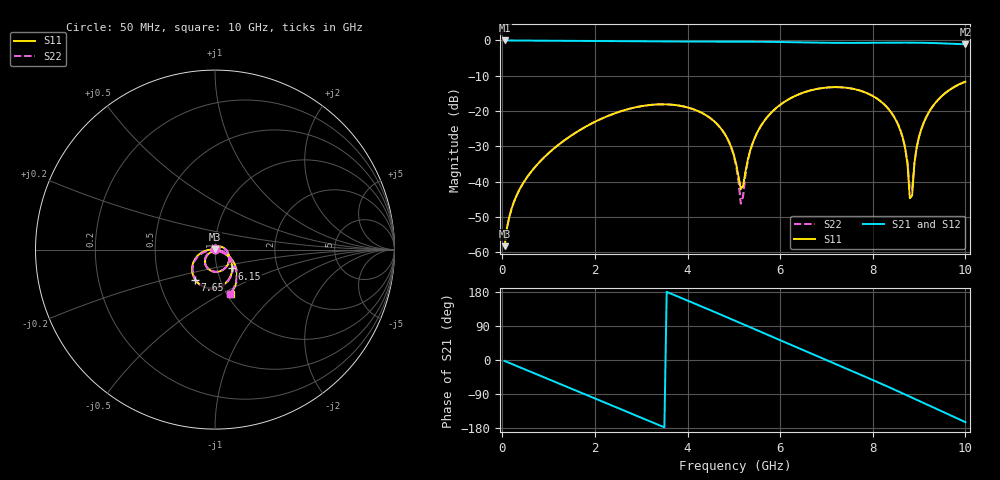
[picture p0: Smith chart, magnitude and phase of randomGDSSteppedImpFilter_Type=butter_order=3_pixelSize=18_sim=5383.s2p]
! freq	dB(S11)	phase(S11)	dB(S12)	phase(S12)
!  dB(S21)	phase(S21)	dB(S22)	phase(S22)
!S-par simulation data
#  GHz  S  DB  R 50
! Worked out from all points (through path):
!   200 points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, 50 MHz to 10 GHz, reference 50 ohm
!   highest |S21| = -0.01 dB at 50 MHz (marker M1); lowest = -1.1 dB at 10 GHz (marker M2)
!   group delay of S21, straight-line fit = 145 ps
!   lowest |S11| = -58.3 dB at 50 MHz (marker M3), VSWR 1.00, Z = 50 + j0.115 ohm
!   |S11| at or under -10 dB: start of sweep to end of sweep
!   |S22| runs from -58.3 to -11.7 dB; largest |S21 - S12| = 0
!   S11 on the Smith chart (normalised r, x): 50 MHz: 1.00, +0.00; 6.15 GHz: 1.18, -0.25; 7.65 GHz: 0.76, -0.27; 10 GHz: 1.04, -0.55
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0.05  -58.30 70.3  -0.01 -2.6  -0.01 -2.6  -58.30 70.3
0.2  -47.70 73.2  -0.02 -10.2  -0.02 -10.2  -47.70 73.1
0.5  -39.43 64.0  -0.04 -25.4  -0.04 -25.4  -39.44 63.8
1.75  -24.82 3.2  -0.11 -88.7  -0.11 -88.7  -24.82 2.7
2.5  -20.32 -34.7  -0.19 -126.8  -0.19 -126.8  -20.33 -35.3
3.4  -18.11 -80.5  -0.28 -172.6  -0.28 -172.6  -18.12 -81.3
4.55  -22.61 -136.0  -0.32 128.5  -0.32 128.5  -22.65 -138.2
4.85  -27.52 -147.0  -0.32 112.8  -0.32 112.8  -27.63 -151.1
5.05  -35.04 -142.9  -0.32 102.3  -0.32 102.3  -35.61 -152.9
5.15  -42.10 -100.9  -0.33 97.0  -0.33 97.0  -46.25 -111.4
5.45  -27.63 -18.2  -0.35 81.2  -0.35 81.2  -27.71 -13.4
6.15  -16.93 -47.6  -0.48 44.1  -0.48 44.1  -16.93 -46.0
6.7  -14.01 -75.1  -0.61 15.2  -0.61 15.2  -14.01 -73.9
7.65  -13.94 -123.2  -0.70 -34.3  -0.70 -34.3  -13.94 -121.9
8.35  -19.60 -160.0  -0.64 -71.8  -0.64 -71.8  -19.57 -157.5
8.65  -27.73 -175.9  -0.62 -88.3  -0.62 -88.3  -27.63 -169.7
8.75  -35.01 179.3  -0.62 -93.9  -0.62 -93.9  -34.61 -166.9
8.8  -44.70 179.1  -0.63 -96.7  -0.63 -96.7  -42.24 -145.4
8.85  -43.99 -12.8  -0.63 -99.5  -0.63 -99.5  -42.02 -48.5
8.95  -30.21 -13.4  -0.64 -105.2  -0.64 -105.2  -30.17 -21.5
9.15  -21.86 -24.0  -0.69 -116.5  -0.69 -116.5  -21.87 -27.0
10  -11.69 -70.4  -1.11 -164.0  -1.11 -164.0  -11.70 -71.1
